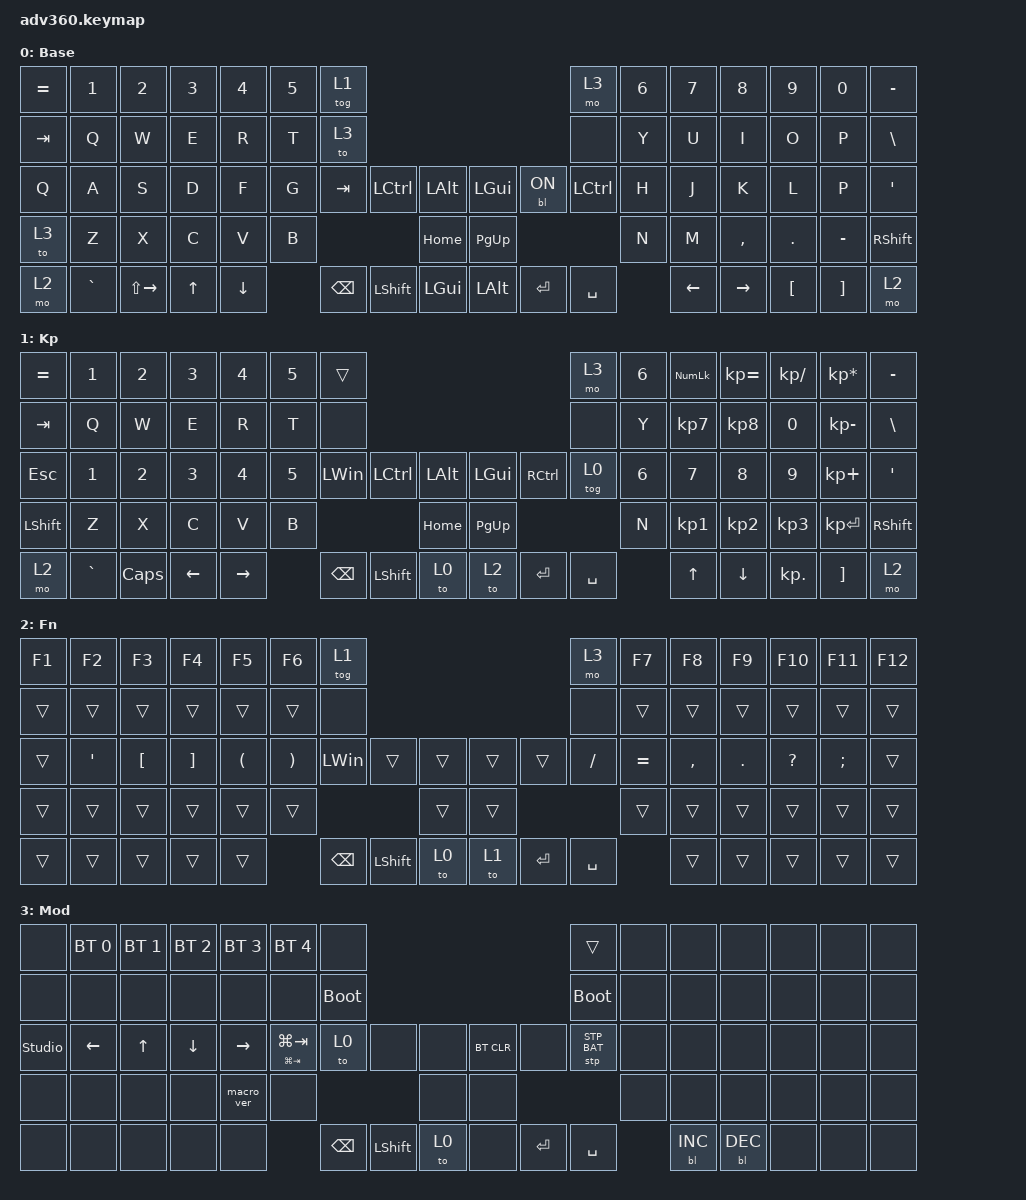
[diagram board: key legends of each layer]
#include <dt-bindings/zmk/stp.h>
#include <behaviors.dtsi>
#include <dt-bindings/zmk/backlight.h>
#include <dt-bindings/zmk/bt.h>
#include <dt-bindings/zmk/keys.h>

/ {
    behaviors {
        #include "macros.dtsi"
      #include "version.dtsi"
    };

    combos {
        compatible = "zmk,combos";

        keypad {
            bindings = <&tog 1>;
            key-positions = <65 70>;
        };

        fn {
            bindings = <&tog 2>;
            key-positions = <66 69>;
        };

        mod {
            bindings = <&tog 3>;
            key-positions = <67 68>;
        };
    };

    keymap {
        compatible = "zmk,keymap";

        default_layer {
            display-name = "Base";
            bindings = <
&kp EQUAL  &kp N1     &kp N2         &kp N3        &kp N4          &kp N5  &tog 1                                                               &mo 3             &kp N6  &kp N7    &kp N8           &kp N9    &kp N0     &kp MINUS
&kp TAB    &kp Q      &kp W          &kp E         &kp R           &kp T   &to 3                                                                &none             &kp Y   &kp U     &kp I            &kp O     &kp P      &kp BSLH
&kp Q      &kp A      &kp S          &kp D         &kp F           &kp G   &kp TAB   &kp LCTRL       &kp LALT          &kp LGUI      &bl BL_ON  &kp LEFT_CONTROL  &kp H   &kp J     &kp K            &kp L     &kp P      &kp SQT
&to 3      &kp Z      &kp X          &kp C         &kp V           &kp B                             &kp HOME          &kp PG_UP                                  &kp N   &kp M     &kp COMMA        &kp DOT   &kp MINUS  &kp RSHFT
&mo 2      &kp GRAVE  &kp LS(RIGHT)  &kp UP_ARROW  &kp DOWN_ARROW          &kp BSPC  &kp LEFT_SHIFT  &kp LEFT_GUI      &kp LEFT_ALT  &kp ENTER  &kp SPACE                 &kp LEFT  &kp RIGHT_ARROW  &kp LBKT  &kp RBKT   &mo 2
            >;
        };

        keypad {
            display-name = "Kp";
            bindings = <
&kp EQUAL  &kp N1        &kp N2        &kp N3        &kp N4        &kp N5  &trans                                                            &mo 3      &kp N6        &kp KP_NUM  &kp KP_EQUAL  &kp KP_DIVIDE  &kp KP_MULTIPLY  &kp MINUS
&kp TAB    &kp Q         &kp W         &kp E         &kp R         &kp T   &none                                                             &none      &kp Y         &kp KP_N7   &kp KP_N8     &kp N0         &kp KP_MINUS     &kp BSLH
&kp ESC    &kp NUMBER_1  &kp NUMBER_2  &kp NUMBER_3  &kp NUMBER_4  &kp N5  &kp LEFT_WIN  &kp LCTRL       &kp LALT      &kp LGUI   &kp RCTRL  &tog 0     &kp NUMBER_6  &kp N7      &kp N8        &kp N9         &kp KP_PLUS      &kp SQT
&kp LSHFT  &kp Z         &kp X         &kp C         &kp V         &kp B                                 &kp HOME      &kp PG_UP                        &kp N         &kp KP_N1   &kp KP_N2     &kp KP_N3      &kp KP_ENTER     &kp RSHFT
&mo 2      &kp GRAVE     &kp CAPS      &kp LEFT      &kp RIGHT             &kp BSPC      &kp LEFT_SHIFT  &to 0         &to 2      &kp ENTER  &kp SPACE                &kp UP      &kp DOWN      &kp KP_DOT     &kp RBKT         &mo 2
            >;
        };

        fn {
            display-name = "Fn";
            bindings = <
&kp F1  &kp F2   &kp F3            &kp F4             &kp F5                &kp F6                 &tog 1                                                        &mo 3      &kp F7     &kp F8     &kp F9      &kp F10    &kp F11        &kp F12
&trans  &trans   &trans            &trans             &trans                &trans                 &none                                                         &none      &trans     &trans     &trans      &trans     &trans         &trans
&trans  &kp SQT  &kp LEFT_BRACKET  &kp RIGHT_BRACKET  &kp LEFT_PARENTHESIS  &kp RIGHT_PARENTHESIS  &kp LEFT_WIN   &trans          &trans      &trans  &trans     &kp SLASH  &kp EQUAL  &kp COMMA  &kp PERIOD  &kp QMARK  &kp SEMICOLON  &trans
&trans  &trans   &trans            &trans             &trans                &trans                                                &trans      &trans                        &trans     &trans     &trans      &trans     &trans         &trans
&trans  &trans   &trans            &trans             &trans                                       &kp BACKSPACE  &kp LEFT_SHIFT  &to 0       &to 1   &kp ENTER  &kp SPACE             &trans     &trans      &trans     &trans         &trans
            >;
        };

        mod {
            display-name = "Mod";
            bindings = <
&none           &bt BT_SEL 0    &bt BT_SEL 1  &bt BT_SEL 2    &bt BT_SEL 3  &bt BT_SEL 4         &none                                                            &trans        &none  &none       &none       &none  &none  &none
&none           &none           &none         &none           &none         &none                &bootloader                                                      &bootloader   &none  &none       &none       &none  &none  &none
&studio_unlock  &kp LEFT_ARROW  &kp UP_ARROW  &kp DOWN_ARROW  &kp RIGHT     &mt LG(TAB) LG(TAB)  &to 0          &none           &none      &bt BT_CLR  &none      &stp STP_BAT  &none  &none       &none       &none  &none  &none
&none           &none           &none         &none           &macro_ver    &none                                               &none      &none                                &none  &none       &none       &none  &none  &none
&none           &none           &none         &none           &none                              &kp BACKSPACE  &kp LEFT_SHIFT  &to 0      &none       &kp ENTER  &kp SPACE            &bl BL_INC  &bl BL_DEC  &none  &none  &none
            >;
        };

        extra1 {
            display-name = "Red";
            status = "reserved";
        };

        extra2 {
            display-name = "Purple";
            status = "reserved";
        };

        extra3 {
            display-name = "Cyan";
            status = "reserved";
        };

        extra4 {
            display-name = "Yellow";
            status = "reserved";
        };
    };
};
